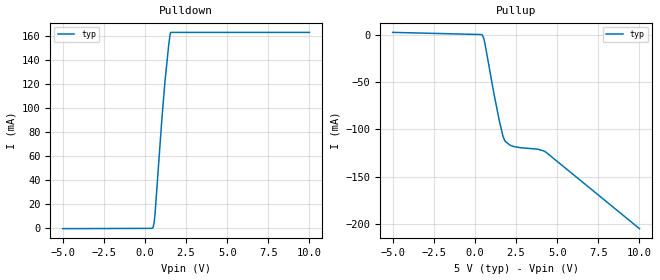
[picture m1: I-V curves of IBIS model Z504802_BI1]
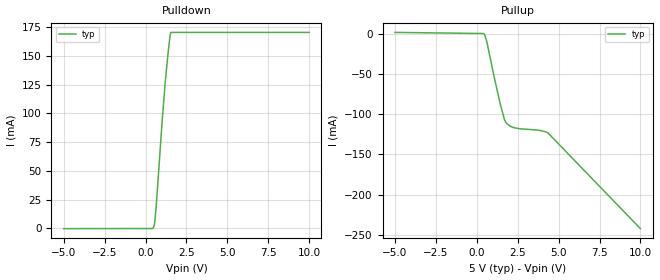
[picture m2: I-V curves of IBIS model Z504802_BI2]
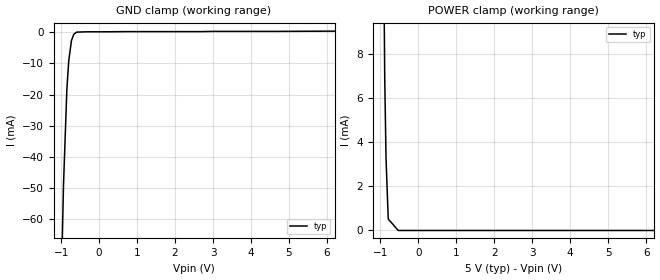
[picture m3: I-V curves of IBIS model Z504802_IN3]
| YOU ARE ONLY AUTHORIZED TO USE THIS SOFTWARE
| ACCORDING TO LICENSOR'S LICENSE RESTRICTIONS.
[IBIS Ver] 3.1
[File Name] mc34058fta.ibs
[File Rev] 2.0
[Source] Measured and created by ICX Technology
[Date] Friday 7/14/00 9:08:22 AM
[Copyright]
| (C) COPYRIGHT 1993-2000
| MENTOR GRAPHICS CORPORATION
| ICX STANDARD LIBRARY, ICX PROJECT MODELING,
| ICX CUSTOM MODELING, ICX VENDOR MODEL
| ALL RIGHTS RESERVED.
| THE FOLLOWING ARE TRADEMARKS OR SERVICE MARKS OF
| MENTOR GRAPHICS CORPORATION:ICX (R), ICX STANDARD
| LIBRARY(R), ICX PROJECT MODELING(R), ICX CUSTOM
| MODELING(R), qualityIBIS(TM), MODELVIEWER(TM),
| AND MODELEDITOR(TM)
| ALL COPIES OF SOFTWARE, INCLUDING BUT NOT LIMITED TO
| ANY MODIFICATIONS, ENHANCEMENTS OR DERIVATIVE WORKS,
| MUST CONTAIN ALL MENTOR GRAPHICS CORPORATION'S
| NOTICES AND LEGENDS, INCLUDING THOSE EMBEDDED IN
| SOFTWARE AND THOSE AFFIXED TO SOFTWARE MEDIUM
| AND CONTAINER, AS RECEIVED FROM MENTOR GRAPHICS
| CORPORATION.
|  ZAP Model Builder 2.7
[Component] MC34058FTA
[Manufacturer] OnSemiconductor
[Package]
| variable   typ   min   max
R_pkg  .059ohms NA NA
L_pkg  4.957nH NA NA
C_pkg  .258pF NA NA
[Pin] signal_name  model_name  R_pin  L_pin C_pin
1 GND GND .062 5.13n .28p
2 GND GND .06 5.04n .27p
3 OA6 Z504802_BI1 .059 4.95n .26p
4 OB6 Z504802_BI2 .059 4.9n .25p
5 DR1 Z504802_IN3 .058 4.87n .25p
6 OA1 Z504802_BI1 .058 4.85n .24p
7 OB1 Z504802_BI2 .058 4.85n .24p
8 DE1 Z504802_IN4 .058 4.87n .25p
9 RE1 Z504802_IN5 .059 4.9n .25p
10 OB2 Z504802_BI2 .059 4.95n .26p
11 OA2 Z504802_BI1 .06 5.04n .27p
12 GND GND .062 5.13n .28p
13 GND GND .062 5.13n .28p
14 GND GND .06 5.04n .27p
15 DE2 Z504802_IN4 .059 4.95n .26p
16 RE2 Z504802_IN5 .059 4.9n .25p
17 DR2 Z504802_IN3 .058 4.87n .25p
18 Vcc POWER .058 4.85n .24p
19 Vcc POWER .058 4.85n .24p
20 DR3 Z504802_IN3 .058 4.87n .25p
21 RE3 Z504802_IN5 .059 4.9n .25p
22 DE3 Z504802_IN4 .059 4.95n .26p
23 TSD NC .06 5.04n .27p
24 GND GND .062 5.13n .28p
25 GND GND .062 5.13n .28p
26 GND GND .06 5.04n .27p
27 OA3 Z504802_BI1 .059 4.95n .26p
28 OB3 Z504802_BI2 .059 4.9n .25p
29 RE4 Z504802_IN5 .058 4.87n .25p
30 DE4 Z504802_IN4 .058 4.85n .24p
31 OB4 Z504802_BI2 .058 4.85n .24p
32 OA4 Z504802_BI1 .058 4.87n .25p
33 DR4 Z504802_IN3 .059 4.9n .25p
34 OB5 Z504802_BI2 .059 4.95n .26p
35 OA5 Z504802_BI1 .06 5.04n .27p
36 GND GND .062 5.13n .28p
37 GND GND .062 5.13n .28p
38 GND GND .06 5.04n .27p
39 DE5 Z504802_IN4 .059 4.95n .26p
40 RE5 Z504802_IN5 .059 4.9n .25p
41 DR5 Z504802_IN3 .058 4.87n .25p
42 Vcc POWER .058 4.85n .24p
43 Vcc POWER .058 4.85n .24p
44 RO6 Z504802_OUT6 .058 4.87n .25p
45 DI6 Z504802_IN7 .059 4.9n .25p
46 RE6 Z504802_IN5 .059 4.95n .26p
47 DE6 Z504802_IN4 .06 5.04n .27p
48 GND GND .062 5.13n .28p
| Models and submodels in the file (7): Z504802_BI1 (I/O), Z504802_BI2 (I/O), Z504802_IN3 (Input), Z504802_IN4 (Input), Z504802_IN5 (Input), Z504802_IN7 (Input), Z504802_OUT6 (Output)
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| (C) COPYRIGHT 1993-2000
| MENTOR GRAPHICS CORPORATION
| ICX STANDARD LIBRARY, ICX PROJECT MODELING,
| ICX CUSTOM MODELING, ICX VENDOR MODEL
| ALL RIGHTS RESERVED.
| THE FOLLOWING ARE TRADEMARKS OR SERVICE MARKS OF
| MENTOR GRAPHICS CORPORATION:ICX (R), ICX STANDARD
| LIBRARY(R), ICX PROJECT MODELING(R), ICX CUSTOM
| MODELING(R), qualityIBIS(TM), MODELVIEWER(TM),
| AND MODELEDITOR(TM)
| ALL COPIES OF SOFTWARE, INCLUDING BUT NOT LIMITED TO
| ANY MODIFICATIONS, ENHANCEMENTS OR DERIVATIVE WORKS,
| MUST CONTAIN ALL MENTOR GRAPHICS CORPORATION'S
| NOTICES AND LEGENDS, INCLUDING THOSE EMBEDDED IN
| SOFTWARE AND THOSE AFFIXED TO SOFTWARE MEDIUM
| AND CONTAINER, AS RECEIVED FROM MENTOR GRAPHICS
| CORPORATION.
| Model Application Version 1.89 2/18/99.
[Model] Z504802_BI1
Model_type I/O
Vinl=800.0mV
Vinh=2.000V
Vref=2.300V
Rref=27.00ohms
Cref=15.00pF
Vmeas=2.000V
C_comp 8.000pF NA NA
| variable typ   min   max
[Voltage Range] 5.000V NA NA
[POWER Clamp Reference] 5.000V NA NA
[Pullup Reference] 5.000V NA NA
[Pulldown Reference] 0.000V NA NA
[GND Clamp Reference] 0.000V NA NA
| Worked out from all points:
|   slope of the pulldown table from 0 to 0.75 V, typ, clamps not added: 20 ohm
|   slope of the pullup table from 0 to 0.75 V, typ, clamps not added: 32.3 ohm
[GND Clamp]
-5V       0A         NA         NA
10V       0A         NA         NA
[Pulldown]
-5V       -160.9uA   NA         NA
468.3mV   351.5uA    NA         NA
505.1mV   1.373mA    NA         NA
564.2mV   5.308mA    NA         NA
615.2mV   11.98mA    NA         NA
1.026V    89.77mA    NA         NA
1.211V    120.6mA    NA         NA
1.441V    151.5mA    NA         NA
1.529V    160.9mA    NA         NA
1.566V    162.6mA    NA         NA
10V       162.6mA    NA         NA
[Pullup]
-5V       2.289mA    NA         NA
443mV     -305.4uA   NA         NA
542mV     -4.21mA    NA         NA
614mV     -9.834mA   NA         NA
1.154V    -62.03mA   NA         NA
1.484V    -90.83mA   NA         NA
1.706V    -107.3mA   NA         NA
1.861V    -112.8mA   NA         NA
2.393V    -118.1mA   NA         NA
3.794V    -120.7mA   NA         NA
4.307V    -123.8mA   NA         NA
10V       -204.5mA   NA         NA
[POWER Clamp]
-5V       0A         NA         NA
10V       0A         NA         NA
[Ramp]
| variable typ min max
dV/dt_r 2.658/3.837n NA NA
dV/dt_f 2.658/4.213n NA NA
R_load = 500.0Ohms
| (C) COPYRIGHT 1993-2000
| MENTOR GRAPHICS CORPORATION
| ICX STANDARD LIBRARY, ICX PROJECT MODELING,
| ICX CUSTOM MODELING, ICX VENDOR MODEL
| ALL RIGHTS RESERVED.
| THE FOLLOWING ARE TRADEMARKS OR SERVICE MARKS OF
| MENTOR GRAPHICS CORPORATION:ICX (R), ICX STANDARD
| LIBRARY(R), ICX PROJECT MODELING(R), ICX CUSTOM
| MODELING(R), qualityIBIS(TM), MODELVIEWER(TM),
| AND MODELEDITOR(TM)
| ALL COPIES OF SOFTWARE, INCLUDING BUT NOT LIMITED TO
| ANY MODIFICATIONS, ENHANCEMENTS OR DERIVATIVE WORKS,
| MUST CONTAIN ALL MENTOR GRAPHICS CORPORATION'S
| NOTICES AND LEGENDS, INCLUDING THOSE EMBEDDED IN
| SOFTWARE AND THOSE AFFIXED TO SOFTWARE MEDIUM
| AND CONTAINER, AS RECEIVED FROM MENTOR GRAPHICS
| CORPORATION.
| Model Application Version 1.89 2/18/99.
[Model] Z504802_BI2
Model_type I/O
Vinl=800.0mV
Vinh=2.000V
Vref=2.300V
Rref=27.00ohms
Cref=15.00pF
Vmeas=2.000V
C_comp 8.000pF NA NA
| variable typ   min   max
[Voltage Range] 5.000V NA NA
[POWER Clamp Reference] 5.000V NA NA
[Pullup Reference] 5.000V NA NA
[Pulldown Reference] 0.000V NA NA
[GND Clamp Reference] 0.000V NA NA
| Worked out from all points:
|   slope of the pulldown table from 0 to 0.75 V, typ, clamps not added: 19.3 ohm
|   slope of the pullup table from 0 to 0.75 V, typ, clamps not added: 31.9 ohm
[GND Clamp]
-5V       0A         NA         NA
10V       0A         NA         NA
[Pulldown]
-5V       -152.5uA   NA         NA
467.9mV   307.6uA    NA         NA
505.1mV   1.338mA    NA         NA
546.9mV   3.766mA    NA         NA
581.3mV   7.633mA    NA         NA
663.7mV   21.19mA    NA         NA
1.038V    97.54mA    NA         NA
1.222V    129.6mA    NA         NA
1.396V    154.7mA    NA         NA
1.485V    165.7mA    NA         NA
1.538V    170.4mA    NA         NA
10V       170.4mA    NA         NA
[Pullup]
-5V       1.466mA    NA         NA
424mV     -131uA     NA         NA
485mV     -1.411mA   NA         NA
614mV     -10.01mA   NA         NA
1.044V    -52.15mA   NA         NA
1.426V    -86.61mA   NA         NA
1.687V    -106.5mA   NA         NA
1.842V    -112mA     NA         NA
2.316V    -117.1mA   NA         NA
3.754V    -119.9mA   NA         NA
4.351V    -123.4mA   NA         NA
10V       -242.3mA   NA         NA
[POWER Clamp]
-5V       0A         NA         NA
10V       0A         NA         NA
[Ramp]
| variable typ min max
dV/dt_r 2.631/3.853n NA NA
dV/dt_f 2.631/4.194n NA NA
R_load = 500.0Ohms
| (C) COPYRIGHT 1993-2000
| MENTOR GRAPHICS CORPORATION
| ICX STANDARD LIBRARY, ICX PROJECT MODELING,
| ICX CUSTOM MODELING, ICX VENDOR MODEL
| ALL RIGHTS RESERVED.
| THE FOLLOWING ARE TRADEMARKS OR SERVICE MARKS OF
| MENTOR GRAPHICS CORPORATION:ICX (R), ICX STANDARD
| LIBRARY(R), ICX PROJECT MODELING(R), ICX CUSTOM
| MODELING(R), qualityIBIS(TM), MODELVIEWER(TM),
| AND MODELEDITOR(TM)
| ALL COPIES OF SOFTWARE, INCLUDING BUT NOT LIMITED TO
| ANY MODIFICATIONS, ENHANCEMENTS OR DERIVATIVE WORKS,
| MUST CONTAIN ALL MENTOR GRAPHICS CORPORATION'S
| NOTICES AND LEGENDS, INCLUDING THOSE EMBEDDED IN
| SOFTWARE AND THOSE AFFIXED TO SOFTWARE MEDIUM
| AND CONTAINER, AS RECEIVED FROM MENTOR GRAPHICS
| CORPORATION.
| Model Application Version 1.89 2/18/99.
[Model] Z504802_IN3
Model_type Input
Vinl = 800.0mV
Vinh = 2.000V
C_comp 4.000pF NA NA
| variable typ   min   max
[Voltage Range] 5.000V NA NA
[GND Clamp Reference] 0.000V NA NA
[POWER Clamp Reference] 5.000V NA NA
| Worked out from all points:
|   GND clamp passes 1 mA (typ) near -0.68 V on its own axis
|   POWER clamp passes 1 mA (typ) near -0.80 V on its own axis
[GND Clamp]
-5V       -2.925A    NA         NA
-1.049V   -111mA     NA         NA
-937.2mV  -48.98mA   NA         NA
-849mV    -18.4mA    NA         NA
-800.4mV  -9.304mA   NA         NA
-727.9mV  -2.667mA   NA         NA
-666.6mV  -672.7uA   NA         NA
-590.7mV  28.72uA    NA         NA
10V       544.8uA    NA         NA
[POWER Clamp]
-5V       1.406A     NA         NA
-1.211V   93.06mA    NA         NA
-1.016V   34.67mA    NA         NA
-884mV    6.985mA    NA         NA
-849mV    3.256mA    NA         NA
-791mV    521.3uA    NA         NA
-527.3mV  0A         NA         NA
10V       0A         NA         NA
